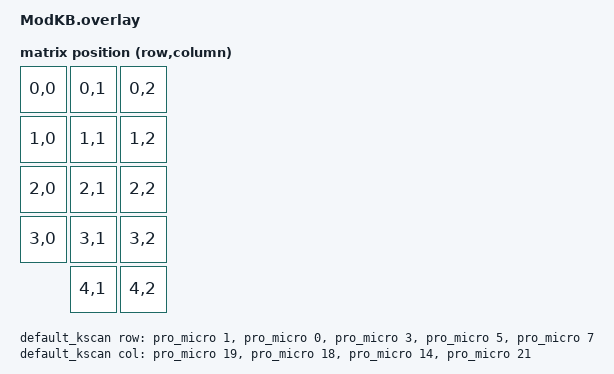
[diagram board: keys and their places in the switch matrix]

#include <dt-bindings/zmk/matrix_transform.h>

/ {
    chosen{
        zmk,kscan = &default_kscan;
        zmk,matrix_transform = &default_transform;
    };


    // PIN MAPPING
    // Which pins are active, sectioned by row-column, diode move col2row

    //for keypad only right now
    default_kscan: kscan { 
        compatible = "zmk,kscan-gpio-matrix";
        diode-direction = "col2row";
        row-gpios
            = <&pro_micro 1 (GPIO_ACTIVE_HIGH | GPIO_PULL_DOWN) > // row 1
            , <&pro_micro 0 (GPIO_ACTIVE_HIGH | GPIO_PULL_DOWN) > // row 2
            , <&pro_micro 3 (GPIO_ACTIVE_HIGH | GPIO_PULL_DOWN) > // row 3
            , <&pro_micro 5 (GPIO_ACTIVE_HIGH | GPIO_PULL_DOWN) > // row 4
            , <&pro_micro 7 (GPIO_ACTIVE_HIGH | GPIO_PULL_DOWN) > // row 5
            ;
        col-gpios 
            = <&pro_micro 19 GPIO_ACTIVE_HIGH > // column 1
            , <&pro_micro 18 GPIO_ACTIVE_HIGH > // column 2
            , <&pro_micro 14 GPIO_ACTIVE_HIGH > // column 3
            , <&pro_micro 21 GPIO_ACTIVE_HIGH > // num led
            ;
    };


    // #include "matrix_transform.h" defines row coulmn like this

    // Physical layout
    default_transform: matrix_transform {
        compatible = "zmk,matrix-transform";
        columns = <3>;
        rows = <5>;
        map = <
            RC(0,0) RC(0,1) RC(0,2) 
            RC(1,0) RC(1,1) RC(1,2) 
            RC(2,0) RC(2,1) RC(2,2) 
            RC(3,0) RC(3,1) RC(3,2) 
                    RC(4,1) RC(4,2) 
        >;
    };
};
